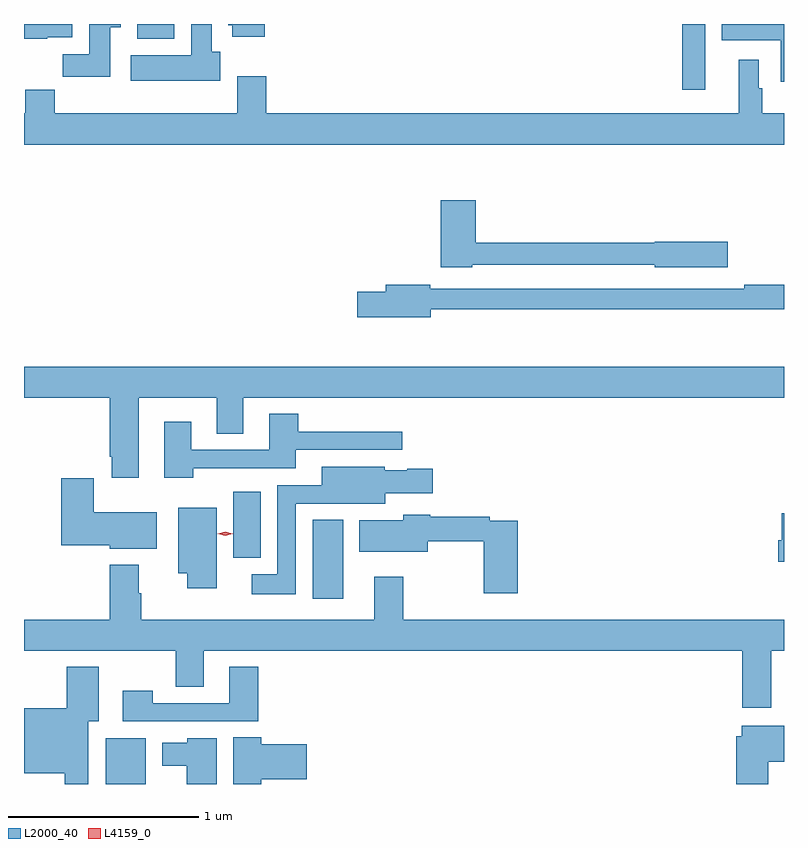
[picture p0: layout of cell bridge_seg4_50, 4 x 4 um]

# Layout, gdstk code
import gdstk
lib = gdstk.Library(unit=1e-6, precision=1e-09)
def R(c, l, rs):  # rectangles x0, y0, x1, y1
    for r in rs: c.add(gdstk.rectangle(r[:2], r[2:], *l))
def P(c, l, *ps):  # polygons
    for p in ps: c.add(gdstk.Polygon(p, *l))
L2000_40 = (2000, 40)
L4159_0 = (4159, 0)

bridge_seg4_50 = lib.new_cell('bridge_seg4_50')
R(bridge_seg4_50, L2000_40, [(743.876,765.483,744.088,765.724), (744.965,766.458,745.126,766.873), (744.548,766.673,744.691,767.02), (746.91,769.137,747.031,769.483), (744.041,769.406,744.238,769.483)])
P(bridge_seg4_50, L2000_40, [(744.713,769.483),(744.521,769.483),(744.521,769.476),(744.542,769.476),(744.542,769.416),(744.713,769.416)],
  [(743.568,769.412),(743.701,769.412),(743.701,769.483),(743.446,769.483),(743.446,769.406),(743.568,769.406)],
  [(747.446,769.483),(747.119,769.483),(747.119,769.397),(747.428,769.397),(747.428,769.179),(747.446,769.179)],
  [(744.478,769.338),(744.433,769.338),(744.433,769.483),(744.326,769.483),(744.326,769.318),(744.009,769.318),(744.009,769.184),(744.478,769.184)],
  [(743.899,769.465),(743.956,769.465),(743.956,769.483),(743.789,769.483),(743.789,769.324),(743.65,769.324),(743.65,769.206),(743.899,769.206)],
  [(747.446,769.012),(747.331,769.012),(747.331,769.145),(747.313,769.145),(747.313,769.294),(747.209,769.294),(747.209,769.012),(744.722,769.012),(744.722,769.207),(744.569,769.207),(744.569,769.012),(743.609,769.012),(743.609,769.136),(743.453,769.136),(743.453,769.012),(743.446,769.012),(743.446,768.848),(747.446,768.848)],
  [(745.806,768.216),(746.766,768.216),(746.766,768.203),(747.151,768.203),(747.151,768.338),(746.766,768.338),(746.766,768.332),(745.823,768.332),(745.823,768.556),(745.64,768.556),(745.64,768.203),(745.806,768.203)],
  [(745.588,767.982),(747.446,767.982),(747.446,768.11),(747.238,768.11),(747.238,768.09),(745.584,768.09),(745.584,768.11),(745.349,768.11),(745.349,768.074),(745.2,768.074),(745.2,767.939),(745.588,767.939)],
  [(744.049,767.516),(744.461,767.516),(744.461,767.326),(744.601,767.326),(744.601,767.516),(747.446,767.516),(747.446,767.68),(743.446,767.68),(743.446,767.516),(743.897,767.516),(743.897,767.206),(743.909,767.206),(743.909,767.094),(744.049,767.094)],
  [(744.338,767.145),(744.877,767.145),(744.877,767.241),(745.438,767.241),(745.438,767.338),(744.89,767.338),(744.89,767.431),(744.737,767.431),(744.737,767.241),(744.325,767.241),(744.325,767.389),(744.185,767.389),(744.185,767.094),(744.338,767.094)],
  [(744.876,766.959),(745.122,766.959),(745.122,766.958),(745.348,766.958),(745.348,767.012),(745.597,767.012),(745.597,767.142),(745.464,767.142),(745.464,767.134),(745.344,767.134),(745.344,767.152),(745.013,767.152),(745.013,767.055),(744.78,767.055),(744.78,766.588),(744.645,766.588),(744.645,766.481),(744.876,766.481)],
  [(744.145,766.912),(743.812,766.912),(743.812,767.092),(743.642,767.092),(743.642,766.739),(743.898,766.739),(743.898,766.721),(744.145,766.721)],
  [(744.46,766.936),(744.257,766.936),(744.257,766.592),(744.305,766.592),(744.305,766.512),(744.46,766.512)],
  [(747.446,766.909),(747.434,766.909),(747.434,766.767),(747.416,766.767),(747.416,766.653),(747.446,766.653)],
  [(746.045,766.869),(745.898,766.869),(745.898,766.889),(745.583,766.889),(745.583,766.9),(745.441,766.9),(745.441,766.87),(745.211,766.87),(745.211,766.706),(745.57,766.706),(745.57,766.761),(745.867,766.761),(745.867,766.488),(746.045,766.488)],
  [(747.379,766.184),(747.446,766.184),(747.446,766.348),(745.442,766.348),(745.442,766.573),(745.289,766.573),(745.289,766.348),(744.062,766.348),(744.062,766.487),(744.049,766.487),(744.049,766.636),(743.897,766.636),(743.897,766.348),(743.446,766.348),(743.446,766.184),(744.244,766.184),(744.244,765.994),(744.391,765.994),(744.391,766.184),(747.227,766.184),(747.227,765.885),(747.379,765.885)],
  [(743.785,765.812),(743.839,765.812),(743.839,766.099),(743.672,766.099),(743.672,765.883),(743.446,765.883),(743.446,765.539),(743.66,765.539),(743.66,765.483),(743.785,765.483)],
  [(744.68,766.099),(744.527,766.099),(744.527,765.909),(744.123,765.909),(744.123,765.973),(743.967,765.973),(743.967,765.813),(744.68,765.813)],
  [(747.364,765.599),(747.446,765.599),(747.446,765.79),(747.224,765.79),(747.224,765.735),(747.194,765.735),(747.194,765.483),(747.364,765.483)],
  [(744.695,765.509),(744.934,765.509),(744.934,765.692),(744.695,765.692),(744.695,765.728),(744.548,765.728),(744.548,765.483),(744.695,765.483)],
  [(744.46,765.724),(744.306,765.724),(744.306,765.7),(744.173,765.7),(744.173,765.578),(744.302,765.578),(744.302,765.483),(744.46,765.483)])
P(bridge_seg4_50, L4159_0, [(744.505,766.79),(744.465,766.8),(744.464,766.8),(744.465,766.8),(744.505,766.81),(744.545,766.801),(744.546,766.8),(744.545,766.8)])

lib.write_gds('bridge_seg4_50.gds')
